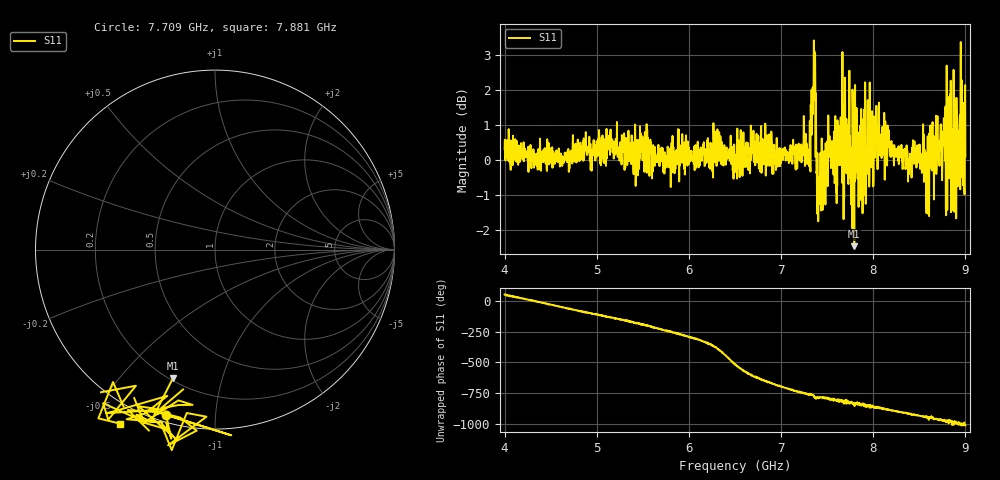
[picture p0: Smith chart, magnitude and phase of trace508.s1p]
! Created with skrf 1.8.0 (http://scikit-rf.org).
# Hz S RI R 50.0
!freq ReS11 ImS11
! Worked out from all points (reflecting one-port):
!   1601 points, 4 GHz to 9 GHz, reference 50 ohm
!   lowest |S11| = -2.5 dB at 7.794 GHz (marker M1), VSWR 7.11, Z = 10.6 - j35.2 ohm
!   phase of S11 starts at 50 deg and turns -1060 deg over the sweep
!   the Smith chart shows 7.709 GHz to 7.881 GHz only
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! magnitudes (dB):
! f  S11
! 4 GHz  0.3
! 4.625 GHz  -0.2
! 5.25 GHz  0.0
! 5.875 GHz  0.2
! 6.238 GHz  0.3
! 6.291 GHz  0.8
! 6.5 GHz  -0.3
! 6.806 GHz  0.4
! 7.125 GHz  0.2
! 7.294 GHz  -0.1
! 7.347 GHz  2.0
! 7.369 GHz  3.0
! 7.409 GHz  -0.8
! 7.538 GHz  0.5
! 7.584 GHz  -0.6
! 7.669 GHz  0.7
! 7.75 GHz  0.0
! 7.769 GHz  -0.6
! 7.794 GHz  -2.5
! 8.038 GHz  0.7
! 8.375 GHz  0.0
! 8.522 GHz  0.1
! 8.581 GHz  0.2
! 8.634 GHz  -0.3
! 8.75 GHz  -0.2
! 8.875 GHz  -0.1
! 8.956 GHz  0.3
! 9 GHz  0.1
